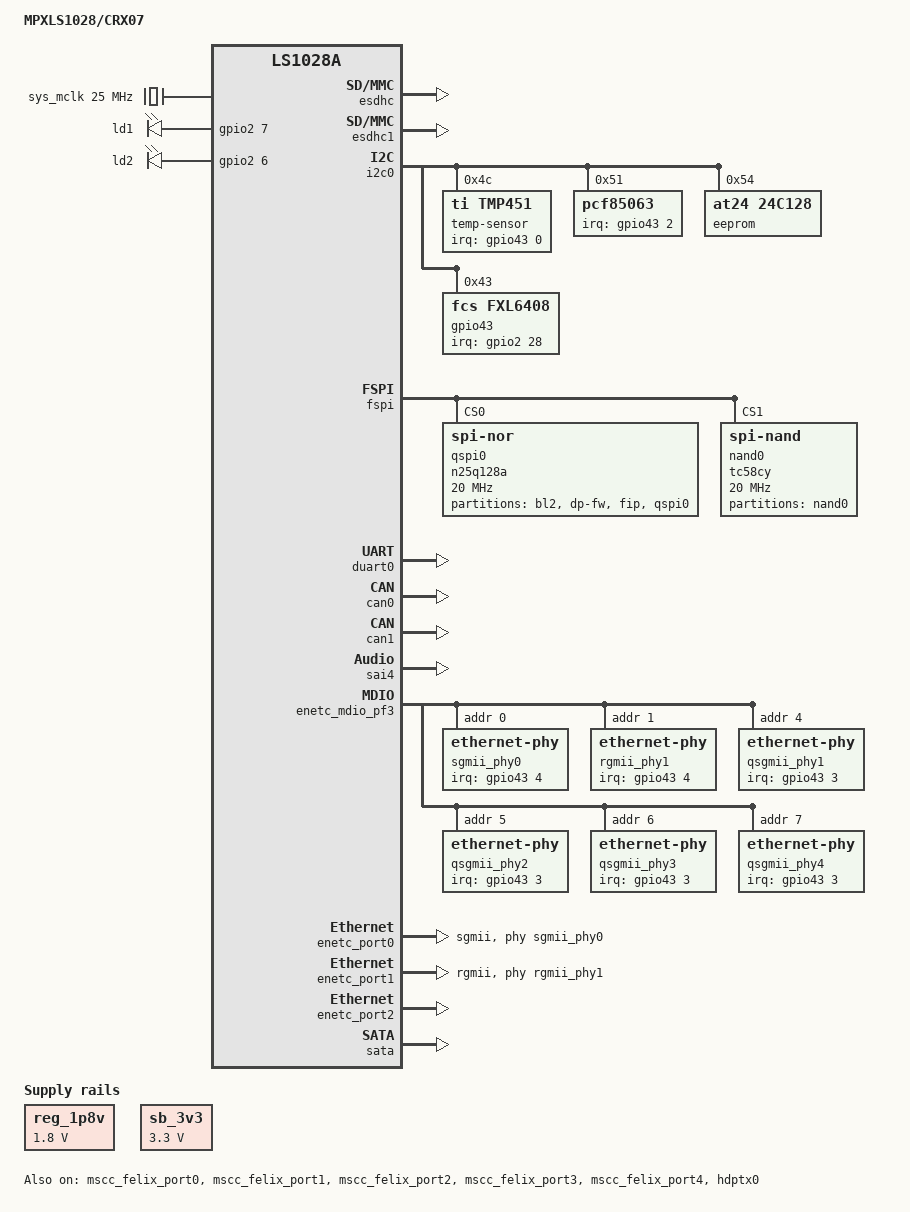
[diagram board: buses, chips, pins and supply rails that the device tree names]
/*
 * Device Tree Include file for NXP Layerscape-1028A family SoC.
 *
 * Copyright 2018 NXP
 * Copyright (C) 2019 MicroSys Electronics GmbH
 *
 * Harninder Rai <harninder.rai@nxp.com>
 *
 * This file is dual-licensed: you can use it either under the terms
 * of the GPLv2 or the X11 license, at your option. Note that this dual
 * licensing only applies to this file, and not this project as a
 * whole.
 *
 *  a) This library is free software; you can redistribute it and/or
 *     modify it under the terms of the GNU General Public License as
 *     published by the Free Software Foundation; either version 2 of the
 *     License, or (at your option) any later version.
 *
 *     This library is distributed in the hope that it will be useful,
 *     but WITHOUT ANY WARRANTY; without even the implied warranty of
 *     MERCHANTABILITY or FITNESS FOR A PARTICULAR PURPOSE.  See the
 *     GNU General Public License for more details.
 *
 * Or, alternatively,
 *
 *  b) Permission is hereby granted, free of charge, to any person
 *     obtaining a copy of this software and associated documentation
 *     files (the "Software"), to deal in the Software without
 *     restriction, including without limitation the rights to use,
 *     copy, modify, merge, publish, distribute, sublicense, and/or
 *     sell copies of the Software, and to permit persons to whom the
 *     Software is furnished to do so, subject to the following
 *     conditions:
 *
 *     The above copyright notice and this permission notice shall be
 *     included in all copies or substantial portions of the Software.
 *
 *     THE SOFTWARE IS PROVIDED "AS IS", WITHOUT WARRANTY OF ANY KIND,
 *     EXPRESS OR IMPLIED, INCLUDING BUT NOT LIMITED TO THE WARRANTIES
 *     OF MERCHANTABILITY, FITNESS FOR A PARTICULAR PURPOSE AND
 *     NONINFRINGEMENT. IN NO EVENT SHALL THE AUTHORS OR COPYRIGHT
 *     HOLDERS BE LIABLE FOR ANY CLAIM, DAMAGES OR OTHER LIABILITY,
 *     WHETHER IN AN ACTION OF CONTRACT, TORT OR OTHERWISE, ARISING
 *     FROM, OUT OF OR IN CONNECTION WITH THE SOFTWARE OR THE USE OR
 *     OTHER DEALINGS IN THE SOFTWARE.
 */

/dts-v1/;
#include "fsl-ls1028a.dtsi"

/ {
    model = "MPXLS1028/CRX07";
    compatible = "fsl,ls1028a-rdb", "fsl,ls1028a";

    aliases {
        crypto = &crypto;
        serial0 = &duart0;
        serial1 = &duart1;
        ethernet0 = &enetc_port0;
    };

    chosen {
        stdout-path = "serial0:115200n8";
    };

    sys_mclk: clock-mclk {
        compatible = "fixed-clock";
        #clock-cells = <0>;
        clock-frequency = <25000000>;
    };

    reg_1p8v: regulator-1p8v {
        compatible = "regulator-fixed";
        regulator-name = "1P8V";
        regulator-min-microvolt = <1800000>;
        regulator-max-microvolt = <1800000>;
        regulator-always-on;
    };

    sb_3v3: regulator-sb3v3 {
        compatible = "regulator-fixed";
        regulator-name = "3v3_vbus";
        regulator-min-microvolt = <3300000>;
        regulator-max-microvolt = <3300000>;
        regulator-boot-on;
        regulator-always-on;
    };

//    gpu-subsystem {
//        /* take etnaviv GPU driver: */
//        compatible = "fsl,imx-gpu-subsystem", "vivante,gpu-subsystem";
//        cores = <&gpu0>;
//        status = "okay";
//    };

      leds {
          compatible = "gpio-leds";
          ld1 {
              label = "ld1";
              gpios = <&gpio2 7 0>;
              default-state = "off";
          };
          ld2 {
              label = "ld2";
              gpios = <&gpio2 6 0>;
              default-state = "off";
          };
      };

};

&esdhc {
    status = "okay";
};

&esdhc1 {
    status = "okay";
};

&gpio1 {
    status = "okay";
    little-endian;
};

&gpio2 {
    status = "okay";
    little-endian;
};

&gpio3 {
    status = "okay";
    little-endian;
};

&i2c0 {
    status = "okay";

    temp-sensor@4c {
        compatible = "ti,tmp451";
        reg = <0x4c>;
        // IRQ: THERM_FAULT# and THERM_ALERT#
        interrupt-parent = <&gpio43>;
        interrupts = <0 IRQ_TYPE_EDGE_FALLING>, // THERM_ALERT# == TMP451.ALERT#
                     <1 IRQ_TYPE_EDGE_FALLING>; // THERM_FAULT# == TMP451.THERM#
        extended-mode; // switch to extended temperature range from [-64..191]
        #limit-cells = <4>;
        limits = <0x00 0xff 0xa4 0x8b>, // Local Temp.:  <-64 191 100 75>
                 <0x00 0xff 0xff 0x00>; // Remote Temp.: <-64 191 120 0>
    };

    pcf85063: rtc@51 {
        compatible = "pcf85063";
        reg = <0x51>;
        // IRQ: RTC_IRQ#
        interrupt-parent = <&gpio43>;
        interrupts = <2 IRQ_TYPE_EDGE_FALLING>;
    };

    eeprom@54 {
        compatible = "at24,24c128";
        reg = <0x54>;
    };

    gpio43: gpio@43 {
        compatible = "fcs,fxl6408";
        gpio-controller;
        #gpio-cells = <2>;
        reg = <0x43>;
        input-default-state = [1f];
        pull-config = [00 1f];
        interrupt-parent = <&gpio2>;
        interrupts = <28 IRQ_TYPE_EDGE_FALLING>;
        interrupt-controller;
        #interrupt-cells = <2>;
    };
};

&fspi {

    status = "okay";

    qspi0: n25q128a@0 {
        compatible = "jedec,spi-nor","n25q128a11";
        #address-cells = <1>;
        #size-cells = <1>;
        spi-max-frequency = <20000000>;
        reg = <0>;
        partition@0 {
            reg = <0x0 0x32000>;
            label = "bl2";
        };
        partition@1 {
            reg = <0x40000 0x20000>;
            label = "dp-fw";
        };
        partition@2 {
            reg = <0x100000 0x200000>;
            label = "fip";
        };
        partition@ff {
            reg = <0x0 0x1000000>;
            label = "qspi0";
        };
    };

    nand0: tc58cy@1 {
        compatible = "spi-nand";
        #address-cells = <1>;
        #size-cells = <1>;
        spi-max-frequency = <20000000>;
        reg = <1>;
        partition@ff {
            reg = <0x0 0x20000000>;
            label = "nand0";
        };
    };
};

&duart0 {
    status = "okay";
};

&duart1 {
    status = "disabled";
};

&can0 {
    status = "okay";

    can-transceiver {
        max-bitrate = <5000000>;
    };
};

&can1 {
    status = "okay";

    can-transceiver {
        max-bitrate = <5000000>;
    };
};

&sai4 {
    status = "okay";
};

&enetc_mdio_pf3 {
    status = "okay";

    sgmii_phy0: ethernet-phy@0 {
        reg = <0x0>;
        // IRQ0#
        interrupt-parent = <&gpio43>;
        interrupts = <4 IRQ_TYPE_EDGE_FALLING>;
    };

    rgmii_phy1: ethernet-phy@1 {
        reg = <0x1>;
        // IRQ0#
        interrupt-parent = <&gpio43>;
        interrupts = <4 IRQ_TYPE_EDGE_FALLING>;
    };

    qsgmii_phy1: ethernet-phy@4 {
        reg = <0x4>;
        // IRQ1#
        interrupt-parent = <&gpio43>;
        interrupts = <3 IRQ_TYPE_EDGE_FALLING>;
    };

    qsgmii_phy2: ethernet-phy@5 {
        reg = <0x5>;
        // IRQ1#
        interrupt-parent = <&gpio43>;
        interrupts = <3 IRQ_TYPE_EDGE_FALLING>;
    };

    qsgmii_phy3: ethernet-phy@6 {
        reg = <0x6>;
        // IRQ1#
        interrupt-parent = <&gpio43>;
        interrupts = <3 IRQ_TYPE_EDGE_FALLING>;
    };

    qsgmii_phy4: ethernet-phy@7 {
        reg = <0x7>;
        // IRQ1#
        interrupt-parent = <&gpio43>;
        interrupts = <3 IRQ_TYPE_EDGE_FALLING>;
    };
};

&enetc_port0 {
    status = "okay";
    phy-handle = <&sgmii_phy0>;
    phy-connection-type = "sgmii";
};

&enetc_port1 {
    status = "okay";
    phy-handle = <&rgmii_phy1>;
    phy-connection-type = "rgmii";
};

/* l2switch ports */

&mscc_felix_port0 {
    status = "okay";
    phy-handle = <&qsgmii_phy1>;
    phy-mode = "qsgmii";
};

&mscc_felix_port1 {
    status = "okay";
    phy-handle = <&qsgmii_phy2>;
    phy-mode = "qsgmii";
};

&mscc_felix_port2 {
    status = "okay";
    phy-handle = <&qsgmii_phy3>;
    phy-mode = "qsgmii";
};

&mscc_felix_port3 {
    status = "okay";
    phy-handle = <&qsgmii_phy4>;
    phy-mode = "qsgmii";
};

&enetc_port2 {
    status = "okay";
};

&mscc_felix_port4 {
    status = "okay";
    // /delete-property/ ethernet;
};

//&enetc_port3 {
//    status = "okay";
//};

//&mscc_felix_port5 {
//    status = "okay";
//    ethernet = <&enetc_port3>;
//};

&sata {
    status = "okay";
};

&hdptx0 {
    lane-mapping = <0x4e>;
    status = "okay";
};

//&gpu0 {
//    /* take etnaviv GPU driver: */
//    compatible = "fsl,ls1028a-gpu","vivante,gc";
//    status = "okay";
//};
